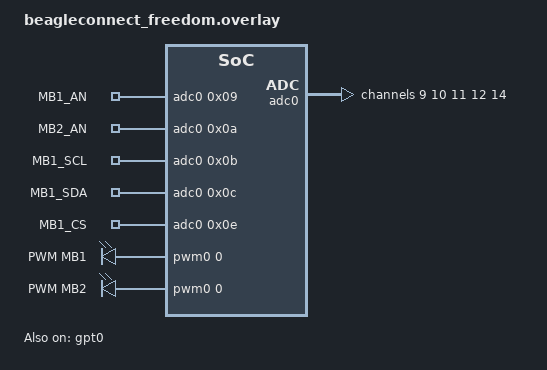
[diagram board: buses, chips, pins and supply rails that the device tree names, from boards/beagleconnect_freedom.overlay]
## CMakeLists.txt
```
# CMakeLists.txt for Zephyr Example Module test
#
# Copyright (c) 2020, Friedt Professional Engineering Services, Inc
#
# SPDX-License-Identifier: Apache-2.0

cmake_minimum_required(VERSION 3.13.1)
find_package(Zephyr REQUIRED HINTS $ENV{ZEPHYR_BASE})
project(sra_board_component)

FILE(GLOB app_sources src/*.c)
target_sources(app PRIVATE ${app_sources})
```

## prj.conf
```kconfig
CONFIG_SRA_BOARD_COMPONENT=y
CONFIG_PWM=y
CONFIG_LOG=y
CONFIG_PRINTK=y
```

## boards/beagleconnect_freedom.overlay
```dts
/ {
    zephyr,user {
        /* Combine io-channels and io-channel-names into arrays */
        io-channels = <&adc0 0x09>, <&adc0 0x0a>, <&adc0 0x0b>, <&adc0 0x0c>, <&adc0 0x0e>;
        io-channel-names = "MB1_AN", "MB2_AN", "MB1_SCL", "MB1_SDA", "MB1_CS";
    };

    aliases {
        pwm-led0 = &pwm_led0;
        pwm-led1 = &pwm_led1;
    };

    pwmleds {
        compatible = "pwm-leds";
        
        pwm_led0: pwm_led_0 {
            pwms = <&pwm0 0 255 PWM_POLARITY_NORMAL>;
            label = "PWM MB1";
        };

        pwm_led1: pwm_led_1 {
            pwms = <&pwm0 0 255 PWM_POLARITY_NORMAL>;
            label = "PWM MB2";
        };
    };
};

&adc0 {
    status = "okay";

    #address-cells = <1>;
    #size-cells = <0>;

    /* MB1 AN */
    an_mb1: channel@9 {
        reg = <9>;
        zephyr,gain = "ADC_GAIN_1";
        zephyr,reference = "ADC_REF_INTERNAL";
        zephyr,acquisition-time = <ADC_ACQ_TIME_DEFAULT>;
        zephyr,resolution = <12>;
    };

    /* MB2 AN */
    an_mb2: channel@a {
        reg = <10>;
        zephyr,gain = "ADC_GAIN_1";
        zephyr,reference = "ADC_REF_INTERNAL";
        zephyr,acquisition-time = <ADC_ACQ_TIME_DEFAULT>;
        zephyr,resolution = <12>;
    };

    /* MB1/2 SCL */
    scl_mb1: channel@b {
        reg = <11>;
        zephyr,gain = "ADC_GAIN_1";
        zephyr,reference = "ADC_REF_INTERNAL";
        zephyr,acquisition-time = <ADC_ACQ_TIME_DEFAULT>;
        zephyr,resolution = <12>;
    };

    /* MB1/2 SDA */
    sda_mb1: channel@c {
        reg = <12>;
        zephyr,gain = "ADC_GAIN_1";
        zephyr,reference = "ADC_REF_INTERNAL";
        zephyr,acquisition-time = <ADC_ACQ_TIME_DEFAULT>;
        zephyr,resolution = <12>;
    };

    /* MB1 CS */
    cs_mb1: channel@e {
        reg = <14>;
        zephyr,gain = "ADC_GAIN_1";
        zephyr,reference = "ADC_REF_INTERNAL";
        zephyr,acquisition-time = <ADC_ACQ_TIME_DEFAULT>;
        zephyr,resolution = <12>;
    };
};

&pinctrl {
    pwm0_default: pwm0_default {
        pinmux = <17 IOC_PORT_MCU_PORT_EVENT1>;
        bias-disable;
        drive-strength = <8>;
    };

    pwm1_default: pwm1_default {
        pinmux = <19 IOC_PORT_MCU_PORT_EVENT1>;
        bias-disable;
        drive-strength = <8>;
    };
};

&gpt0 {
    status = "okay";
};
```

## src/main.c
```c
#include <mcpwm_interface.h>
#include <zephyr/kernel.h>
#include <zephyr/device.h>
#include <zephyr/sys/printk.h>
// #include <zephyr/logging/log.h>

static const struct pwm_dt_spec pwm_led0 = PWM_DT_SPEC_GET(DT_ALIAS(pwm_led0));
static const struct pwm_dt_spec pwm_led1 = PWM_DT_SPEC_GET(DT_ALIAS(pwm_led1));
//static const struct gpio_dt_spec led = GPIO_DT_SPEC_GET(DT_ALIAS(led0), gpios);

#if DT_NODE_HAS_STATUS(DT_ALIAS(pwm_led0), okay)
#define PWM_DEV_NODE DT_ALIAS(pwm_led0)
#else
#error "Define a PWM device"
#endif

int period = PWM_SEC(1U) / 128U;
int main(void)
{
    if (!pwm_is_ready_dt(&pwm_led0))
    {
        printk("Error: PWM device %s is not ready\n",
               pwm_led0.dev->name);
        return 0;
    }
    if (!pwm_is_ready_dt(&pwm_led1))
    {
        printk("Error: PWM device %s is not ready\n",
               pwm_led1.dev->name);
        return 0;
    }
    motor_enable();
    printk("Motor enabled\n");

    while (1)
    {
        printk("Forward");
        motor1_set_speed(period);
        motor2_set_speed(period);
        k_sleep(K_SECONDS(4U));

        // printk("Backward");
        // motor_backward();
        // k_sleep(K_SECONDS(4U));

        // motor_brake();
        // printk("Stop");
        // k_sleep(K_SECONDS(4U));

        // motor_disable();
        // k_sleep(K_SECONDS(4U));
    }

    return 0;
}
```
